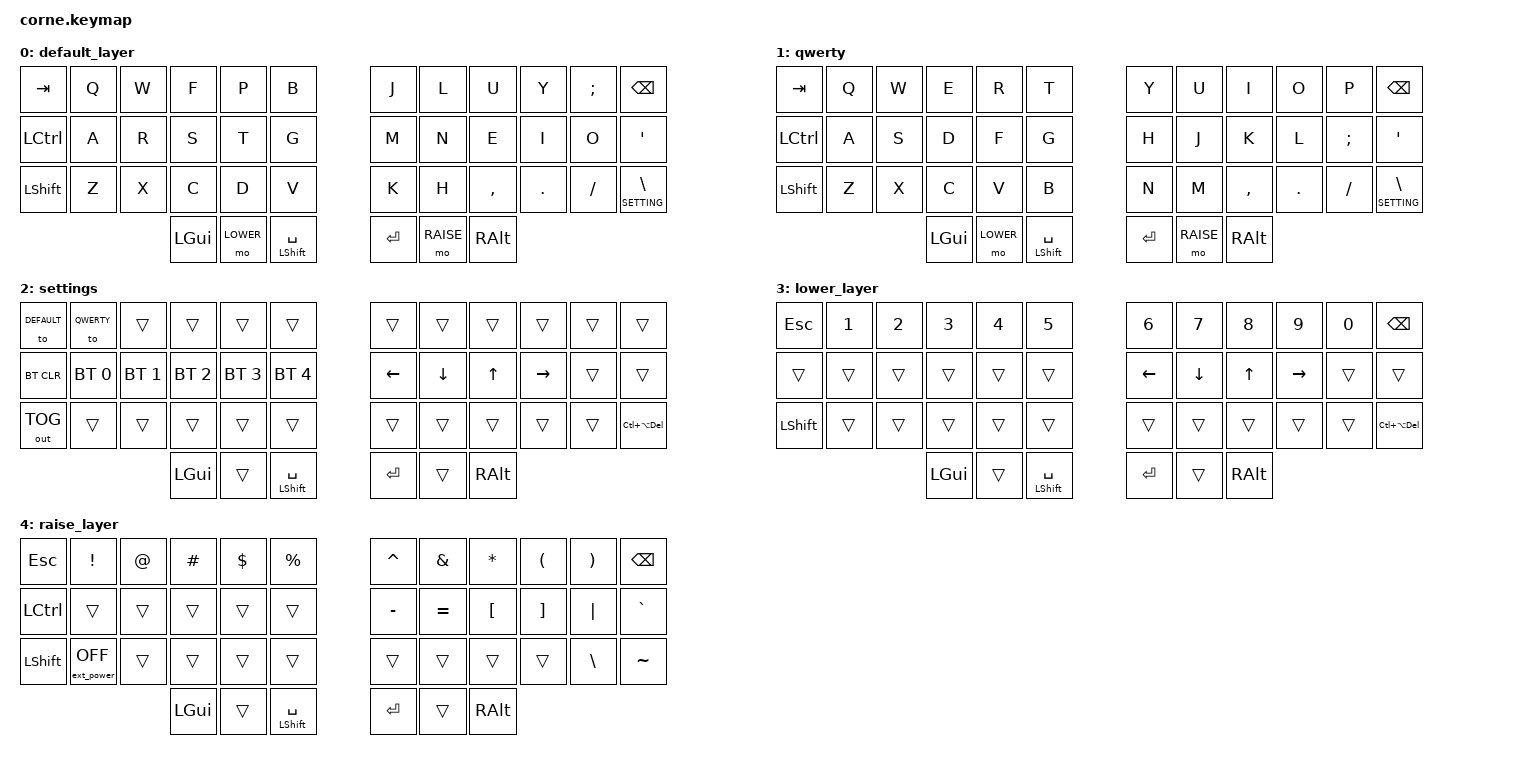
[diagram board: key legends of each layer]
/*
 * Copyright (c) 2020 The ZMK Contributors
 *
 * SPDX-License-Identifier: MIT
 */

#include <behaviors.dtsi>
#include <dt-bindings/zmk/keys.h>
#include <dt-bindings/zmk/bt.h>
#include <dt-bindings/zmk/ext_power.h>
#include <dt-bindings/zmk/outputs.h>

#define DEFAULT 0
#define QWERTY  1
#define LOWER   3
#define RAISE   4  
#define SETTING 2

/ {
        keymap {
                compatible = "zmk,keymap";

                default_layer {
// -----------------------------------------------------------------------------------------
// |  TAB |  Q  |  W  |  F  |  P  |  B  |   |  J  |  L   |  U  |  Y  |  ;  | BKSP |
// | CTRL |  A  |  R  |  S  |  T  |  G  |   |  M  |  N   |  E  |  I  |  O  |  '   |
// | SHFT |  Z  |  X  |  C  |  D  |  V  |   |  K  |  H   |  ,  |  .  |  /  |\[SET]|
//                    | GUI | LWR | SPC |   | ENT | RSE  | ALT |
                        bindings = <
   &kp TAB  &kp Q &kp W &kp F &kp P &kp B   &kp J &kp L  &kp U    &kp Y   &kp SEMI &kp BSPC
   &kp LCTRL &kp A &kp R &kp S &kp T &kp G   &kp M &kp N  &kp E    &kp I   &kp O &kp SQT
   &kp LSHFT &kp Z &kp X &kp C &kp D &kp V   &kp K &kp H  &kp COMMA &kp DOT &kp FSLH &lt SETTING BSLH
                   &kp LGUI &mo LOWER &mt LSHFT SPACE   &kp RET &mo RAISE &kp RALT
                        >;
                };

                qwerty {
// -----------------------------------------------------------------------------------------
// |  TAB |  Q  |  W  |  E  |  R  |  T  |   |  Y  |  U   |  I  |  O  |  P  | BKSP |
// | CTRL |  A  |  S  |  D  |  F  |  G  |   |  H  |  J   |  K  |  L  |  ;  |  '   |
// | SHFT |  Z  |  X  |  C  |  V  |  B  |   |  N  |  M   |  ,  |  .  |  /  |\[SET]|
//                    | GUI | LWR | SPC |   | ENT | RSE  | ALT |
                        bindings = <
   &kp TAB  &kp Q &kp W &kp E &kp R &kp T   &kp Y &kp U  &kp I    &kp O   &kp P    &kp BSPC
   &kp LCTRL &kp A &kp S &kp D &kp F &kp G   &kp H &kp J  &kp K    &kp L   &kp SEMI &kp SQT
   &kp LSHFT &kp Z &kp X &kp C &kp V &kp B   &kp N &kp M  &kp COMMA &kp DOT &kp FSLH &lt SETTING BSLH
                   &kp LGUI &mo LOWER &mt LSHFT SPACE   &kp RET &mo RAISE &kp RALT
                        >;
                };

                settings {
// -----------------------------------------------------------------------------------------
// |  QWE | TM1 | TM2 | TM3 | TM4 | CDM |   |     |     |     |     |     |      |
// | BTCLR| BT1 | BT2 | BT3 | BT4 | BT5 |   | LFT | DWN |  UP | RGT |     |      |
// | USBS |     |     |     |     |     |   |     |     |     |     |     |      |
//                    | GUI |     | SPC |   | ENT |     | ALT |
                        bindings = <
   &to DEFAULT    &to QWERTY        &trans          &trans          &trans          &trans       &trans          &trans          &trans          &trans          &trans  &trans
   &bt BT_CLR     &bt BT_SEL 0      &bt BT_SEL 1    &bt BT_SEL 2    &bt BT_SEL 3    &bt BT_SEL 4    &kp LEFT        &kp DOWN        &kp UP        &kp RIGHT        &trans  &trans
   &out OUT_TOG   &trans            &trans          &trans          &trans          &trans          &trans          &trans          &trans          &trans          &trans  &kp LC(LA(DEL))
                                                &kp LGUI        &trans          &mt LSHFT SPACE         &kp RET         &trans          &kp RALT
                        >;
                };
                lower_layer {
// -----------------------------------------------------------------------------------------
// |  ESC |  1  |  2  |  3  |  4  |  5  |   |  6  |  7  |  8  |  9  |  0  | BKSP |
// | BTCLR|     |     |     |     |     |   | LFT | DWN |  UP | RGT |     |      |
// | SHFT |     |     |     |     |     |   |     |     |     |     |     |      |
//                    | GUI |     | SPC |   | ENT |     | ALT |
                        bindings = <
   &kp ESC    &kp N1            &kp N2          &kp N3          &kp N4          &kp N5          &kp N6          &kp N7          &kp N8          &kp N9          &kp N0  &kp BSPC
   &trans      &trans            &trans          &trans          &trans          &trans         &kp LEFT        &kp DOWN        &kp UP        &kp RIGHT        &trans  &trans
   &kp LSHFT   &trans            &trans          &trans          &trans          &trans          &trans          &trans          &trans          &trans          &trans  &kp LC(LA(DEL))
                                                &kp LGUI        &trans          &mt LSHFT SPACE         &kp RET         &trans          &kp RALT
                        >;
                };

                raise_layer {
// -----------------------------------------------------------------------------------------
// |  ESC |  !  |  @  |  #  |  $  |  %  |   |  ^  |  &  |  *  |  (  |  )  | BKSP |
// | CTRL |     |     |     |     |     |   |  -  |  =  |  {  |  }  | "|" |  `   |
// | SHFT |     |     |     |     |     |   |  _  |  +  |  [  |  ]  |  \  |  ~   | 
//                    | GUI |     | SPC |   | ENT |     | ALT |
                        bindings = <
   &kp  ESC &kp EXCL  &kp AT  &kp HASH  &kp DLLR  &kp PRCNT    &kp CARET  &kp AMPS &kp STAR &kp LPAR &kp RPAR &kp BSPC
   &kp LCTRL &trans    &trans    &trans    &trans    &trans      &kp MINUS &kp EQUAL  &kp LBKT &kp RBKT &kp PIPE &kp GRAVE
   &kp LSHFT &ext_power EP_OFF    &trans    &trans    &trans    &trans      &trans    &trans   &trans   &trans   &kp BSLH &kp TILDE
                                      &kp LGUI &trans &mt LSHFT SPACE   &kp RET &trans &kp RALT
                        >;
                };
        };
};

